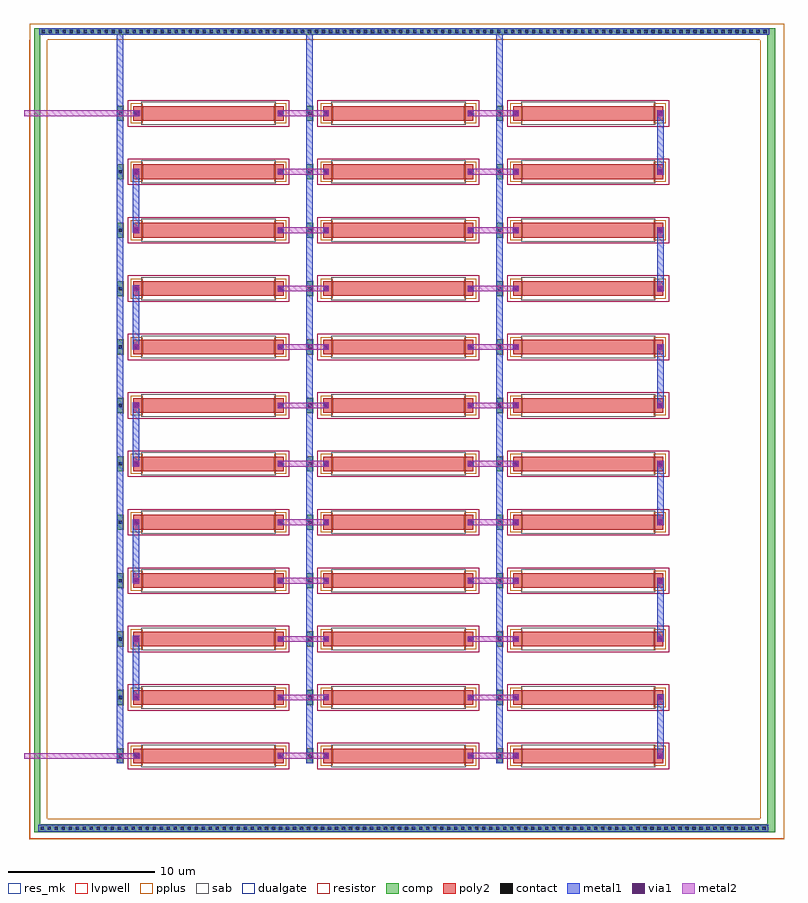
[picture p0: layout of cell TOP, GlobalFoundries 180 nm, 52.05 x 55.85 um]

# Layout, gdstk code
import gdstk
lib = gdstk.Library(unit=1e-6, precision=5e-09)
def R(c, l, rs):  # rectangles x0, y0, x1, y1
    for r in rs: c.add(gdstk.rectangle(r[:2], r[2:], *l))
def A(c, l, x, y, w, h, nx, ny, dx, dy):  # array of equal rectangles
    R(c, l, [(x+i*dx, y+j*dy, x+i*dx+w, y+j*dy+h) for i in range(nx) for j in range(ny)])
def P(c, l, *ps):  # polygons
    for p in ps: c.add(gdstk.Polygon(p, *l))
comp = (22, 0)
poly2 = (30, 0)
pplus = (31, 0)
contact = (33, 0)
metal1 = (34, 0)
via1 = (35, 0)
metal2 = (36, 0)
sab = (49, 0)
dualgate = (55, 0)
resistor = (62, 0)
res_mk = (110, 5)
lvpwell = (204, 0)

via_dev = lib.new_cell('via_dev')
R(via_dev, metal1, [(0,0,0.4,0.4)])
R(via_dev, via1, [(0.07,0.07,0.33,0.33)])
R(via_dev, metal2, [(0,0,0.4,0.4)])

ppolyf_u_high_rs_resisto = lib.new_cell('ppolyf_u_high_Rs_resistor')
R(ppolyf_u_high_rs_resisto, comp, [(-1.76,0,-1.34,1)])
R(ppolyf_u_high_rs_resisto, poly2, [(-0.64,0,9.64,1)])
R(ppolyf_u_high_rs_resisto, pplus, [(-0.82,-0.18,0,1.18), (9,-0.18,9.82,1.18), (-1.78,-0.02,-1.32,1.02)])
R(ppolyf_u_high_rs_resisto, contact, [(-1.66,0.39,-1.44,0.61), (-0.57,0.39,-0.35,0.61), (9.35,0.39,9.57,0.61)])
R(ppolyf_u_high_rs_resisto, metal1, [(-1.74,0.31,-1.36,0.69), (-0.65,0.31,-0.27,0.69), (9.27,0.31,9.65,0.69)])
R(ppolyf_u_high_rs_resisto, sab, [(-0.1,-0.28,9.1,1.28)])
R(ppolyf_u_high_rs_resisto, dualgate, [(-1.04,-0.4,10.04,1.4)])
R(ppolyf_u_high_rs_resisto, resistor, [(-1.04,-0.4,10.04,1.4)])
R(ppolyf_u_high_rs_resisto, res_mk, [(0,0,9,1)])

via_dev_2 = lib.new_cell('via_dev$2')
R(via_dev_2, comp, [(0,0,50,0.45)])
A(via_dev_2, contact, 0.17, 0.115, 0.22, 0.22, 104, 1, 0.48, 0)
R(via_dev_2, metal1, [(0,0,50,0.45)])

top = lib.new_cell('TOP')
P(top, comp, [(-8.29,-4.805),(-8.29,49.8),(-7.865,49.8),(-7.865,-4.28),(41.915,-4.28),(41.915,49.8),(-8.285,49.8),(-8.285,50.25),(42.47,50.25),(42.47,-4.805)])
P(top, pplus, [(-8.6,-5.3),(-8.6,49.465),(-7.39,49.465),(-7.39,-3.91),(41.46,-3.91),(41.46,49.465),(-8.595,49.465),(-8.595,50.55),(43.07,50.55),(43.07,-5.3)])
A(top, metal1, 34.395, 0.215, 0.45, 4.4, 1, 6, 0, 8)
A(top, metal1, -1.53, 4.225, 0.45, 4.4, 1, 5, 0, 8)
R(top, metal1, [(-2.615,-0.11,-2.165,50.245), (10.355,-0.11,10.805,50.245), (23.375,-0.11,23.825,50.245)])
A(top, metal2, 8.415, 0.215, 3.49, 0.395, 1, 12, 0, 4)
A(top, metal2, 21.415, 0.215, 3.49, 0.395, 1, 12, 0, 4)
R(top, metal2, [(-8.975,0.2,-1.045,0.6), (8.415,0.215,11.905,0.61), (-8.975,44.22,-1.045,44.62)])
R(top, lvpwell, [(-8.595,-5.255,43.07,50.55), (-8.595,-5.255,43.07,50.55)])
r = gdstk.Reference(via_dev, (-1.495,0.215)); r.repetition = gdstk.Repetition(3, 12, v1=(13,0), v2=(0,4)); top.add(r)
r = gdstk.Reference(via_dev, (8.415,0.21)); r.repetition = gdstk.Repetition(3, 12, v1=(13,0), v2=(0,4)); top.add(r)
r = gdstk.Reference(ppolyf_u_high_rs_resisto, (-0.84,-0.09)); r.repetition = gdstk.Repetition(3, 12, v1=(13,0), v2=(0,4)); top.add(r)
top.add(gdstk.Reference(via_dev_2, (-8.015,-4.77)))
top.add(gdstk.Reference(via_dev_2, (-7.945,49.795)))

lib.write_gds('TOP.gds')
